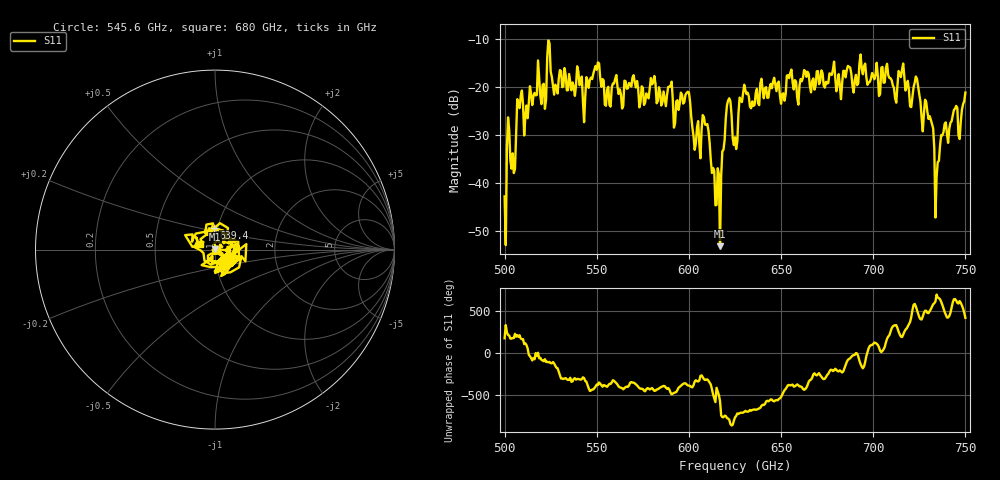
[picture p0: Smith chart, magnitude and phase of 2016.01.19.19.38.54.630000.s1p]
!Created with skrf (http://scikit-rf.org).
# GHz S RI R 50.0
!freq ReS11 ImS11
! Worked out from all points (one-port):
!   401 points, 500 GHz to 750 GHz, reference 50 ohm
!   lowest |S11| = -53.3 dB at 616.9 GHz (marker M1), VSWR 1.00, Z = 49.8 + j0.107 ohm
!   |S11| at or under -10 dB: start of sweep to end of sweep
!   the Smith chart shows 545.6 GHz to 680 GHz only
!   S11 on the Smith chart (normalised r, x): 545.6 GHz: 1.09, -0.19; 639.4 GHz: 0.96, +0.24; 680 GHz: 0.84, +0.05
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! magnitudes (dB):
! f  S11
! 500 GHz  -42.9
! 502.5 GHz  -29.0
! 505 GHz  -38.0
! 508.1 GHz  -24.4
! 521.2 GHz  -19.3
! 524.4 GHz  -10.8
! 527.5 GHz  -19.5
! 531.2 GHz  -20.0
! 545.6 GHz  -20.1
! 562.5 GHz  -20.5
! 580.6 GHz  -19.0
! 593.8 GHz  -22.7
! 605 GHz  -27.1
! 608.8 GHz  -27.8
! 615.6 GHz  -37.0
! 616.9 GHz  -53.3
! 621.2 GHz  -22.8
! 625 GHz  -30.5
! 628.8 GHz  -23.1
! 639.4 GHz  -18.2
! 656.2 GHz  -19.0
! 680 GHz  -20.9
! 687.5 GHz  -15.9
! 718.8 GHz  -18.7
! 729.4 GHz  -25.2
! 734.4 GHz  -38.7
! 738.1 GHz  -29.4
! 750 GHz  -21.1
